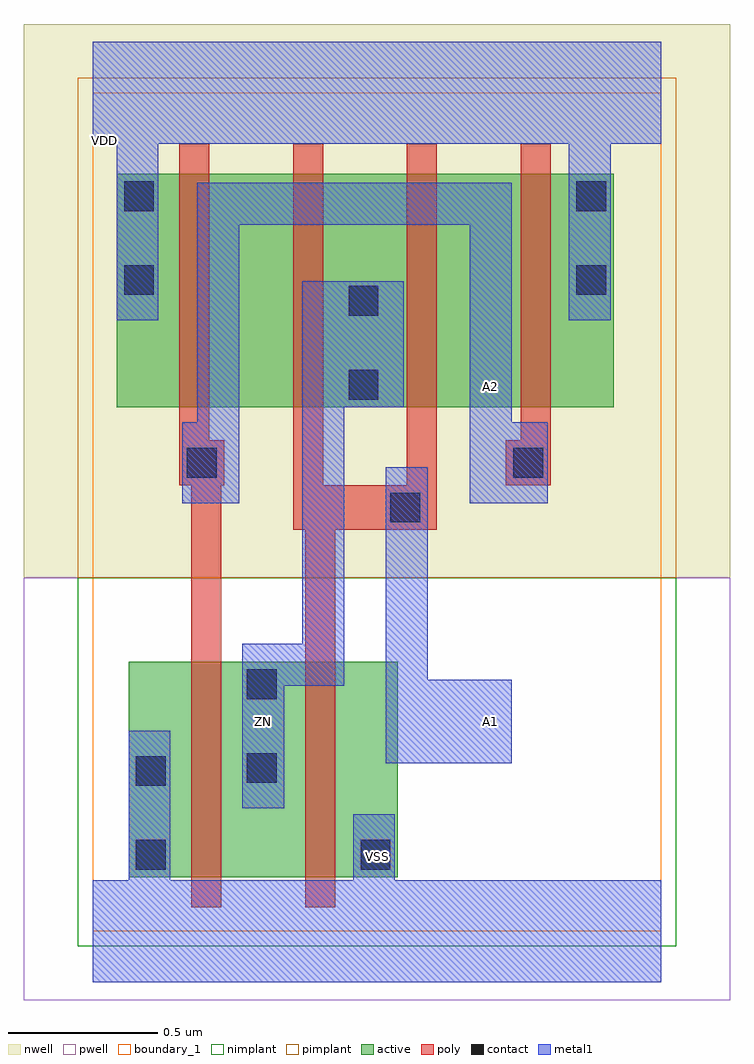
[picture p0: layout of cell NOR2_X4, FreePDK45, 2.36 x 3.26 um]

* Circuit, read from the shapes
.subckt NOR2_X4 A1 A2 VDD VSS ZN
M1 ZN A2 VSS VSUBS nfet w=0.72u l=0.1u
M2 VSS A1 ZN VSUBS nfet w=0.72u l=0.1u
M3 n1 A2 VDD n2 pfet w=0.78u l=0.1u
M4 ZN A1 n1 n2 pfet w=0.78u l=0.1u
M5 n3 A1 ZN n2 pfet w=0.78u l=0.1u
M6 VDD A2 n3 n2 pfet w=0.78u l=0.1u
.ends

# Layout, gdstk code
import gdstk
lib = gdstk.Library(unit=1e-6, precision=1e-09)
def R(c, l, rs):  # rectangles x0, y0, x1, y1
    for r in rs: c.add(gdstk.rectangle(r[:2], r[2:], *l))
def P(c, l, *ps):  # polygons
    for p in ps: c.add(gdstk.Polygon(p, *l))
active = (1, 0)
pwell = (2, 0)
nwell = (3, 0)
nimplant = (4, 0)
pimplant = (5, 0)
poly = (9, 0)
contact = (10, 0)
metal1 = (11, 0)
boundary_1 = (235, 1)

nor2_x4 = lib.new_cell('NOR2_X4')
R(nor2_x4, active, [(0.12,0.18,1.02,0.9), (0.08,1.75,1.74,2.53)])
R(nor2_x4, pwell, [(-0.23,-0.23,2.13,1.18)])
R(nor2_x4, nwell, [(-0.23,1.18,2.13,3.03)])
R(nor2_x4, nimplant, [(-0.05,-0.05,1.95,1.18)])
R(nor2_x4, pimplant, [(-0.05,1.18,1.95,2.85)])
P(nor2_x4, poly, [(1.38,1.49),(1.53,1.49),(1.53,2.63),(1.43,2.63),(1.43,1.64),(1.38,1.64)],
  [(0.67,1.34),(0.71,1.34),(0.71,0.08),(0.81,0.08),(0.81,1.34),(1.15,1.34),(1.15,2.63),(1.05,2.63),(1.05,1.49),(0.77,1.49),(0.77,2.63),(0.67,2.63)],
  [(0.29,1.49),(0.33,1.49),(0.33,0.08),(0.43,0.08),(0.43,1.49),(0.44,1.49),(0.44,1.64),(0.39,1.64),(0.39,2.63),(0.29,2.63)])
R(nor2_x4, contact, [(0.145,0.205,0.245,0.305), (0.895,0.205,0.995,0.305), (0.145,0.485,0.245,0.585), (0.515,0.495,0.615,0.595), (0.515,0.775,0.615,0.875), (0.995,1.365,1.095,1.465), (0.315,1.515,0.415,1.615), (1.405,1.515,1.505,1.615), (0.855,1.775,0.955,1.875), (0.855,2.055,0.955,2.155), (0.105,2.125,0.205,2.225), (1.615,2.125,1.715,2.225), (0.105,2.405,0.205,2.505), (1.615,2.405,1.715,2.505)])
P(nor2_x4, metal1, [(0.5,0.41),(0.64,0.41),(0.64,0.82),(0.84,0.82),(0.84,1.75),(1.04,1.75),(1.04,2.17),(0.7,2.17),(0.7,0.96),(0.5,0.96)],
  [(0.3,1.43),(0.49,1.43),(0.49,2.36),(1.26,2.36),(1.26,1.43),(1.52,1.43),(1.52,1.7),(1.4,1.7),(1.4,2.5),(0.35,2.5),(0.35,1.7),(0.3,1.7)],
  [(0,-0.17),(1.9,-0.17),(1.9,0.17),(1.01,0.17),(1.01,0.39),(0.87,0.39),(0.87,0.17),(0.26,0.17),(0.26,0.67),(0.12,0.67),(0.12,0.17),(0,0.17)],
  [(0.98,0.56),(1.4,0.56),(1.4,0.84),(1.12,0.84),(1.12,1.55),(0.98,1.55)],
  [(0,2.63),(0.08,2.63),(0.08,2.04),(0.22,2.04),(0.22,2.63),(1.59,2.63),(1.59,2.04),(1.73,2.04),(1.73,2.63),(1.9,2.63),(1.9,2.97),(0,2.97)],
  [(0,2.63),(0.08,2.63),(0.08,2.04),(0.22,2.04),(0.22,2.63),(1.59,2.63),(1.59,2.04),(1.73,2.04),(1.73,2.63),(1.9,2.63),(1.9,2.97),(0,2.97)],
  [(0,-0.17),(1.9,-0.17),(1.9,0.17),(1.01,0.17),(1.01,0.39),(0.87,0.39),(0.87,0.17),(0.26,0.17),(0.26,0.67),(0.12,0.67),(0.12,0.17),(0,0.17)],
  [(0.3,1.43),(0.49,1.43),(0.49,2.36),(1.26,2.36),(1.26,1.43),(1.52,1.43),(1.52,1.7),(1.4,1.7),(1.4,2.5),(0.35,2.5),(0.35,1.7),(0.3,1.7)],
  [(0.98,0.56),(1.4,0.56),(1.4,0.84),(1.12,0.84),(1.12,1.55),(0.98,1.55)],
  [(0.5,0.41),(0.64,0.41),(0.64,0.82),(0.84,0.82),(0.84,1.75),(1.04,1.75),(1.04,2.17),(0.7,2.17),(0.7,0.96),(0.5,0.96)])
R(nor2_x4, boundary_1, [(0,0,1.9,2.8)])
nor2_x4.add(gdstk.Label('ZN', (0.57,0.7), layer=11, texttype=0))
nor2_x4.add(gdstk.Label('VSS', (0.95,0.25), layer=11, texttype=0))
nor2_x4.add(gdstk.Label('VDD', (0.04,2.64), layer=11, texttype=0))
nor2_x4.add(gdstk.Label('A2', (1.33,1.82), layer=11, texttype=0))
nor2_x4.add(gdstk.Label('A1', (1.33,0.7), layer=11, texttype=0))

lib.write_gds('NOR2_X4.gds')
